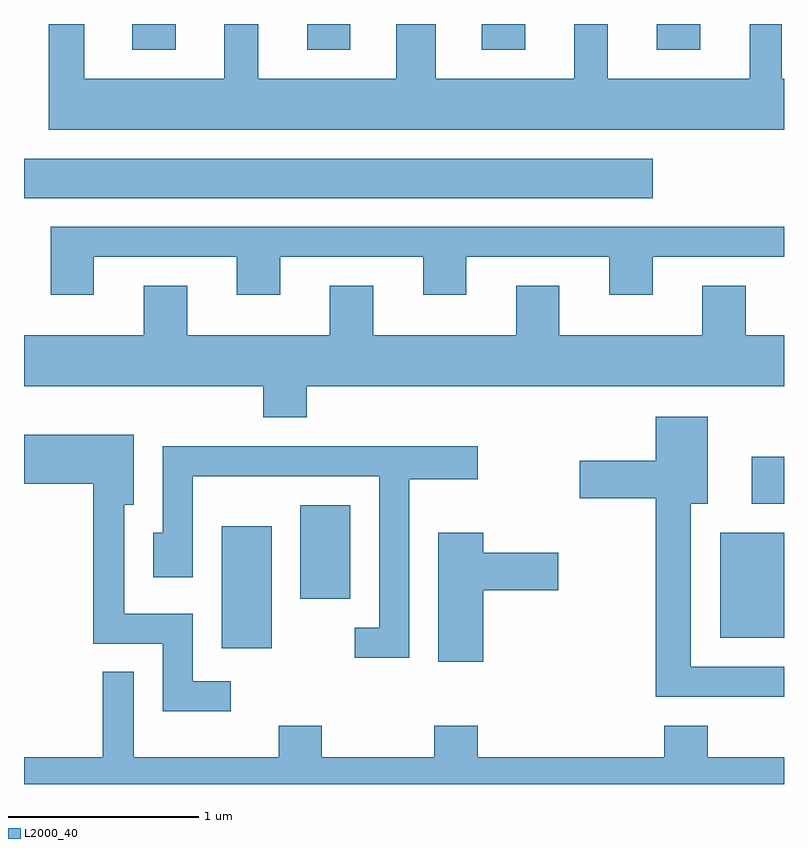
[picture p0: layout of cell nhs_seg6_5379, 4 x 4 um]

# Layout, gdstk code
import gdstk
lib = gdstk.Library(unit=1e-6, precision=1e-09)
def R(c, l, rs):  # rectangles x0, y0, x1, y1
    for r in rs: c.add(gdstk.rectangle(r[:2], r[2:], *l))
def A(c, l, x, y, w, h, nx, ny, dx, dy):  # array of equal rectangles
    R(c, l, [(x+i*dx, y+j*dy, x+i*dx+w, y+j*dy+h) for i in range(nx) for j in range(ny)])
def P(c, l, *ps):  # polygons
    for p in ps: c.add(gdstk.Polygon(p, *l))
L2000_40 = (2000, 40)

nhs_seg6_5379 = lib.new_cell('nhs_seg6_5379')
A(nhs_seg6_5379, L2000_40, 350.181, 1554.026, 0.228, 0.136, 4, 1, 0.92, 0)
R(nhs_seg6_5379, L2000_40, [(350.651,1550.876,350.914,1551.519), (353.276,1550.931,353.611,1551.484), (351.066,1551.136,351.329,1551.629), (353.441,1551.636,353.611,1551.884), (349.611,1553.246,352.919,1553.454)])
P(nhs_seg6_5379, L2000_40, [(353.611,1553.874),(353.599,1553.874),(353.599,1554.162),(353.431,1554.162),(353.431,1553.874),(352.684,1553.874),(352.684,1554.162),(352.506,1554.162),(352.506,1553.874),(351.779,1553.874),(351.779,1554.162),(351.571,1554.162),(351.571,1553.874),(350.844,1553.874),(350.844,1554.162),(350.666,1554.162),(350.666,1553.874),(349.929,1553.874),(349.929,1554.162),(349.741,1554.162),(349.741,1553.606),(353.611,1553.606)],
  [(349.979,1552.936),(350.731,1552.936),(350.731,1552.736),(350.959,1552.736),(350.959,1552.936),(351.711,1552.936),(351.711,1552.736),(351.939,1552.736),(351.939,1552.936),(352.691,1552.936),(352.691,1552.736),(352.919,1552.736),(352.919,1552.936),(353.611,1552.936),(353.611,1553.094),(349.751,1553.094),(349.751,1552.736),(349.979,1552.736)],
  [(351.099,1552.256),(353.611,1552.256),(353.611,1552.524),(353.409,1552.524),(353.409,1552.784),(353.181,1552.784),(353.181,1552.524),(352.429,1552.524),(352.429,1552.784),(352.201,1552.784),(352.201,1552.524),(351.449,1552.524),(351.449,1552.784),(351.221,1552.784),(351.221,1552.524),(350.469,1552.524),(350.469,1552.784),(350.241,1552.784),(350.241,1552.524),(349.611,1552.524),(349.611,1552.256),(350.871,1552.256),(350.871,1552.091),(351.099,1552.091)],
  [(353.611,1550.779),(353.119,1550.779),(353.119,1551.636),(353.209,1551.636),(353.209,1552.094),(352.936,1552.094),(352.936,1551.864),(352.536,1551.864),(352.536,1551.666),(352.936,1551.666),(352.936,1550.621),(353.611,1550.621)],
  [(350.698,1550.704),(350.499,1550.704),(350.499,1551.059),(350.139,1551.059),(350.139,1551.631),(350.189,1551.631),(350.189,1551.999),(349.611,1551.999),(349.611,1551.741),(349.976,1551.741),(349.976,1550.901),(350.341,1550.901),(350.341,1550.546),(350.698,1550.546)],
  [(351.639,1551.766),(351.999,1551.766),(351.999,1551.939),(350.341,1551.939),(350.341,1551.484),(350.291,1551.484),(350.291,1551.251),(350.499,1551.251),(350.499,1551.781),(351.481,1551.781),(351.481,1550.984),(351.353,1550.984),(351.353,1550.826),(351.639,1550.826)],
  [(352.029,1551.181),(352.424,1551.181),(352.424,1551.379),(352.029,1551.379),(352.029,1551.484),(351.791,1551.484),(351.791,1550.806),(352.029,1550.806)],
  [(353.611,1550.304),(353.209,1550.304),(353.209,1550.469),(352.981,1550.469),(352.981,1550.304),(351.999,1550.304),(351.999,1550.469),(351.771,1550.469),(351.771,1550.304),(351.179,1550.304),(351.179,1550.469),(350.951,1550.469),(350.951,1550.304),(350.189,1550.304),(350.189,1550.753),(350.026,1550.753),(350.026,1550.304),(349.611,1550.304),(349.611,1550.162),(353.611,1550.162)])

lib.write_gds('nhs_seg6_5379.gds')
